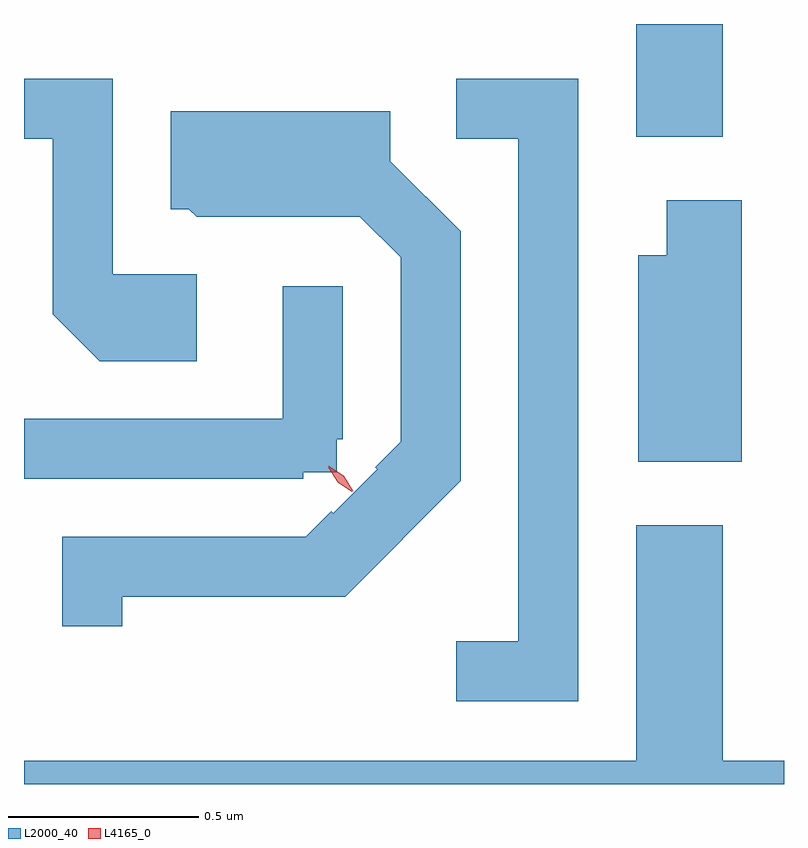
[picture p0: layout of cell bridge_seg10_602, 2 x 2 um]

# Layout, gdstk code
import gdstk
lib = gdstk.Library(unit=1e-6, precision=1e-09)
def R(c, l, rs):  # rectangles x0, y0, x1, y1
    for r in rs: c.add(gdstk.rectangle(r[:2], r[2:], *l))
def P(c, l, *ps):  # polygons
    for p in ps: c.add(gdstk.Polygon(p, *l))
L2000_40 = (2000, 40)
L4165_0 = (4165, 0)

bridge_seg10_602 = lib.new_cell('bridge_seg10_602')
R(bridge_seg10_602, L2000_40, [(831.636,2182.426,831.864,2182.723)])
P(bridge_seg10_602, L2000_40, [(830.479,2182.064),(830.259,2182.064),(830.259,2182.579),(830.025,2182.579),(830.025,2182.421),(830.101,2182.421),(830.101,2181.959),(830.224,2181.836),(830.479,2181.836)],
  [(831.484,2182.579),(831.163,2182.579),(831.163,2182.421),(831.326,2182.421),(831.326,2181.099),(831.163,2181.099),(831.163,2180.941),(831.484,2180.941)],
  [(830.284,2181.216),(830.87,2181.216),(831.174,2181.521),(831.174,2182.177),(830.989,2182.362),(830.989,2182.494),(830.411,2182.494),(830.411,2182.236),(830.459,2182.236),(830.479,2182.216),(830.909,2182.216),(831.016,2182.109),(831.016,2181.624),(830.949,2181.557),(830.955,2181.551),(830.839,2181.436),(830.834,2181.441),(830.767,2181.374),(830.126,2181.374),(830.126,2181.138),(830.284,2181.138)],
  [(831.914,2182.259),(831.716,2182.259),(831.716,2182.114),(831.641,2182.114),(831.641,2181.571),(831.914,2181.571)],
  [(830.76,2181.543),(830.848,2181.543),(830.848,2181.63),(830.864,2181.63),(830.864,2182.033),(830.706,2182.033),(830.706,2181.684),(830.025,2181.684),(830.025,2181.526),(830.76,2181.526)],
  [(831.636,2181.404),(831.636,2180.784),(830.025,2180.784),(830.025,2180.723),(832.025,2180.723),(832.025,2180.784),(831.864,2180.784),(831.864,2181.404)])
P(bridge_seg10_602, L4165_0, [(830.892,2181.494),(830.852,2181.52),(830.825,2181.56),(830.825,2181.56),(830.826,2181.56),(830.866,2181.534),(830.892,2181.494),(830.892,2181.494)],
  [(830.888,2181.492),(830.85,2181.517),(830.825,2181.556),(830.825,2181.556),(830.825,2181.556),(830.864,2181.532),(830.889,2181.493),(830.889,2181.492)])

lib.write_gds('bridge_seg10_602.gds')
